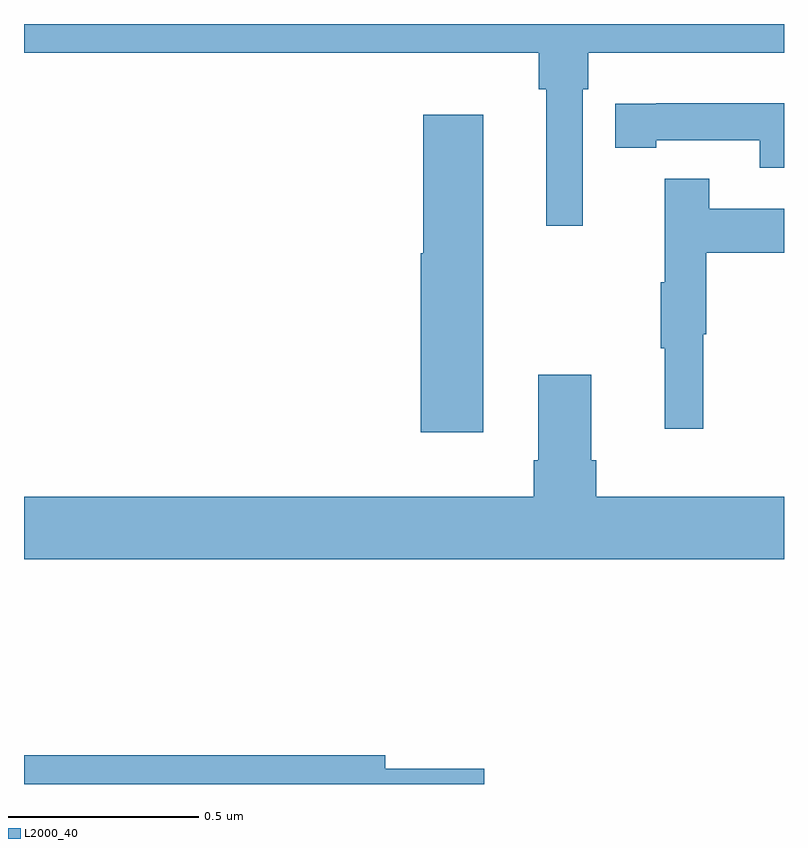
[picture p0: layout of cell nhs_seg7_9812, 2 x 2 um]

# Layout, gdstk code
import gdstk
lib = gdstk.Library(unit=1e-6, precision=1e-09)
def P(c, l, *ps):  # polygons
    for p in ps: c.add(gdstk.Polygon(p, *l))
L2000_40 = (2000, 40)

nhs_seg7_9812 = lib.new_cell('nhs_seg7_9812')
P(nhs_seg7_9812, L2000_40, [(242,1025.924),(243.355,1025.924),(243.355,1025.828),(243.374,1025.828),(243.374,1025.469),(243.471,1025.469),(243.471,1025.828),(243.485,1025.828),(243.485,1025.924),(244,1025.924),(244,1026),(242,1026)],
  [(244,1025.791),(243.664,1025.791),(243.664,1025.79),(243.556,1025.79),(243.556,1025.674),(243.664,1025.674),(243.664,1025.694),(243.936,1025.694),(243.936,1025.622),(244,1025.622)],
  [(243.208,1025.761),(243.05,1025.761),(243.05,1025.397),(243.044,1025.397),(243.044,1024.926),(243.208,1024.926)],
  [(243.788,1025.184),(243.796,1025.184),(243.796,1025.398),(244,1025.398),(244,1025.514),(243.803,1025.514),(243.803,1025.593),(243.686,1025.593),(243.686,1025.321),(243.675,1025.321),(243.675,1025.147),(243.686,1025.147),(243.686,1024.935),(243.788,1024.935)],
  [(243.493,1024.852),(243.493,1025.077),(243.353,1025.077),(243.353,1024.852),(243.341,1024.852),(243.341,1024.756),(242,1024.756),(242,1024.592),(244,1024.592),(244,1024.756),(243.506,1024.756),(243.506,1024.852)],
  [(243.211,1024.04),(242.95,1024.04),(242.95,1024.076),(242,1024.076),(242,1024),(243.211,1024)])

lib.write_gds('nhs_seg7_9812.gds')
